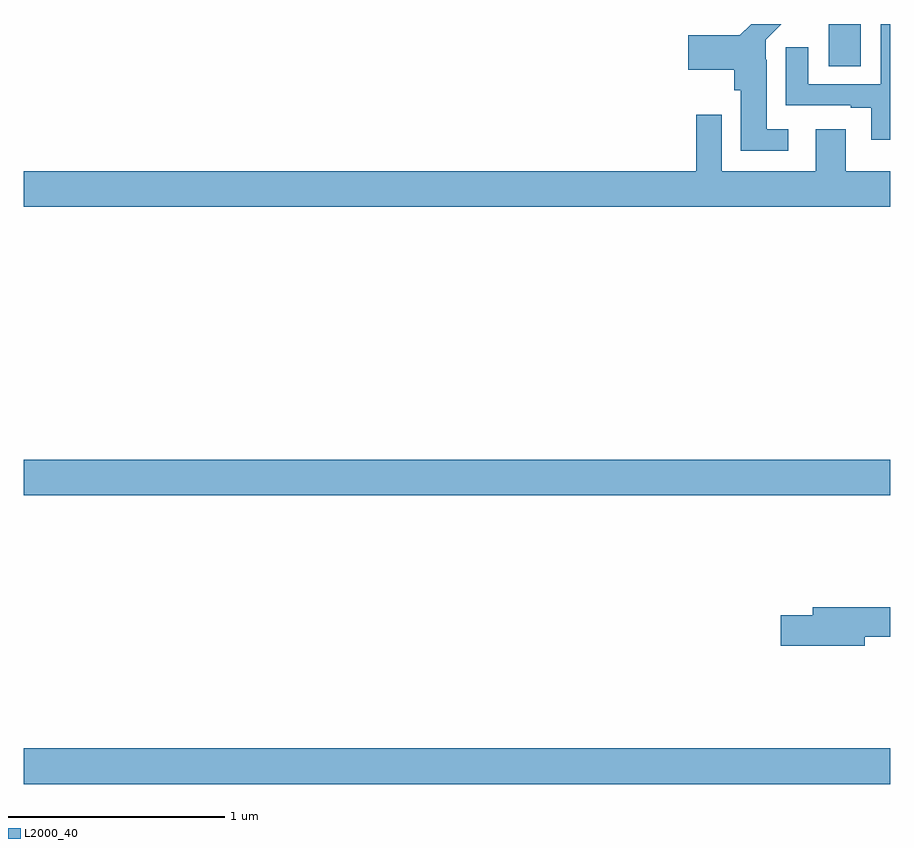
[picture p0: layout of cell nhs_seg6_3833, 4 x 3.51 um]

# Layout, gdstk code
import gdstk
lib = gdstk.Library(unit=1e-6, precision=1e-09)
def R(c, l, rs):  # rectangles x0, y0, x1, y1
    for r in rs: c.add(gdstk.rectangle(r[:2], r[2:], *l))
def P(c, l, *ps):  # polygons
    for p in ps: c.add(gdstk.Polygon(p, *l))
L2000_40 = (2000, 40)

nhs_seg6_3833 = lib.new_cell('nhs_seg6_3833')
R(nhs_seg6_3833, L2000_40, [(337,957.992,341,958.156), (337,959.324,341,959.488), (340.715,961.306,340.864,961.5)])
P(nhs_seg6_3833, L2000_40, [(340.528,961.015),(340.429,961.015),(340.429,961.334),(340.425,961.334),(340.425,961.428),(340.497,961.5),(340.358,961.5),(340.305,961.447),(340.068,961.447),(340.068,961.289),(340.28,961.289),(340.28,961.194),(340.31,961.194),(340.31,960.914),(340.528,960.914)],
  [(341,961.5),(340.955,961.5),(340.955,961.221),(340.621,961.221),(340.621,961.393),(340.517,961.393),(340.517,961.125),(340.817,961.125),(340.817,961.113),(340.913,961.113),(340.913,960.966),(341,960.966)],
  [(341,960.82),(340.795,960.82),(340.795,961.015),(340.655,961.015),(340.655,960.82),(340.221,960.82),(340.221,961.081),(340.105,961.081),(340.105,960.82),(337,960.82),(337,960.656),(341,960.656)],
  [(340.882,958.672),(341,958.672),(341,958.808),(340.643,958.808),(340.643,958.772),(340.494,958.772),(340.494,958.63),(340.882,958.63)])

lib.write_gds('nhs_seg6_3833.gds')
